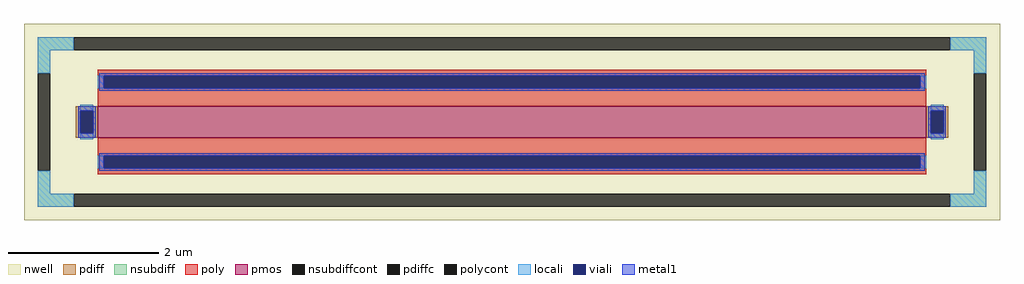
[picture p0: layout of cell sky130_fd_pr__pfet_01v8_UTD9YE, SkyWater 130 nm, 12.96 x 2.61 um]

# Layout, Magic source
magic
tech sky130A
magscale 1 2
<< nwell >>
rect -1296 -261 1296 261
<< pmos >>
rect -1100 -42 1100 42
<< pdiff >>
rect -1158 30 -1100 42
rect -1158 -30 -1146 30
rect -1112 -30 -1100 30
rect -1158 -42 -1100 -30
rect 1100 30 1158 42
rect 1100 -30 1112 30
rect 1146 -30 1158 30
rect 1100 -42 1158 -30
<< pdiffc >>
rect -1146 -30 -1112 30
rect 1112 -30 1146 30
<< nsubdiff >>
rect -1260 191 -1164 225
rect 1164 191 1260 225
rect -1260 129 -1226 191
rect 1226 129 1260 191
rect -1260 -191 -1226 -129
rect 1226 -191 1260 -129
rect -1260 -225 -1164 -191
rect 1164 -225 1260 -191
<< nsubdiffcont >>
rect -1164 191 1164 225
rect -1260 -129 -1226 129
rect 1226 -129 1260 129
rect -1164 -225 1164 -191
<< poly >>
rect -1100 123 1100 139
rect -1100 89 -1084 123
rect 1084 89 1100 123
rect -1100 42 1100 89
rect -1100 -89 1100 -42
rect -1100 -123 -1084 -89
rect 1084 -123 1100 -89
rect -1100 -139 1100 -123
<< polycont >>
rect -1084 89 1084 123
rect -1084 -123 1084 -89
<< locali >>
rect -1260 191 -1164 225
rect 1164 191 1260 225
rect -1260 129 -1226 191
rect 1226 129 1260 191
rect -1100 89 -1084 123
rect 1084 89 1100 123
rect -1146 30 -1112 46
rect -1146 -46 -1112 -30
rect 1112 30 1146 46
rect 1112 -46 1146 -30
rect -1100 -123 -1084 -89
rect 1084 -123 1100 -89
rect -1260 -191 -1226 -129
rect 1226 -191 1260 -129
rect -1260 -225 -1164 -191
rect 1164 -225 1260 -191
<< viali >>
rect -1084 89 1084 123
rect -1146 -30 -1112 30
rect 1112 -30 1146 30
rect -1084 -123 1084 -89
<< metal1 >>
rect -1096 123 1096 129
rect -1096 89 -1084 123
rect 1084 89 1096 123
rect -1096 83 1096 89
rect -1152 30 -1106 42
rect -1152 -30 -1146 30
rect -1112 -30 -1106 30
rect -1152 -42 -1106 -30
rect 1106 30 1152 42
rect 1106 -30 1112 30
rect 1146 -30 1152 30
rect 1106 -42 1152 -30
rect -1096 -89 1096 -83
rect -1096 -123 -1084 -89
rect 1084 -123 1096 -89
rect -1096 -129 1096 -123
<< properties >>
string FIXED_BBOX -1243 -208 1243 208
string gencell sky130_fd_pr__pfet_01v8
string library sky130
string parameters w 0.42 l 11.0 m 1 nf 1 diffcov 100 polycov 100 guard 1 glc 1 grc 1 gtc 1 gbc 1 tbcov 100 rlcov 100 topc 1 botc 1 poverlap 0 doverlap 1 lmin 0.15 wmin 0.42 compatible {sky130_fd_pr__pfet_01v8  sky130_fd_pr__pfet_01v8_lvt sky130_fd_pr__pfet_01v8_hvt  sky130_fd_pr__pfet_g5v0d10v5} full_metal 1 viasrc 100 viadrn 100 viagate 100 viagb 0 viagr 0 viagl 0 viagt 0
<< end >>
